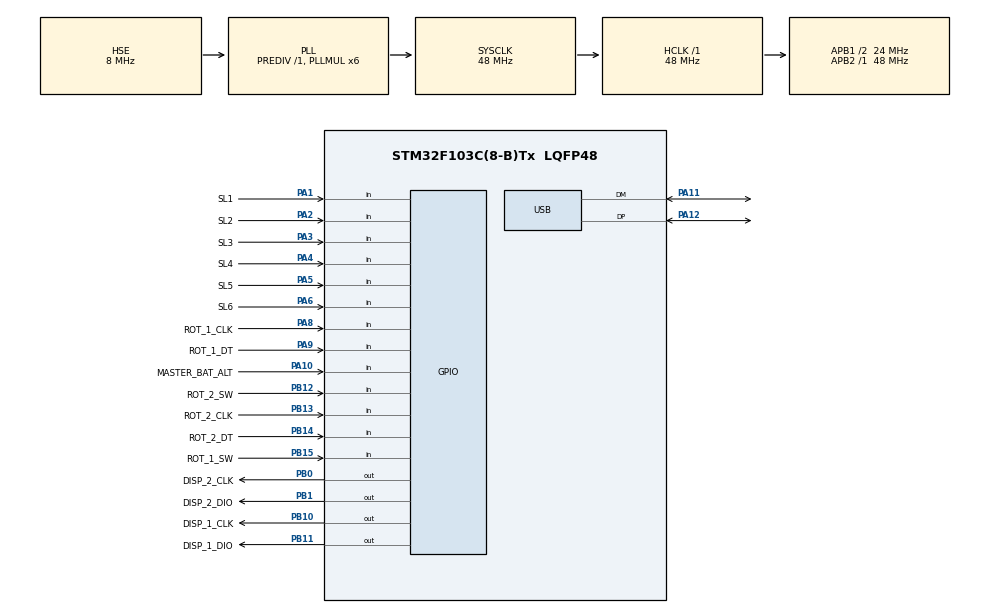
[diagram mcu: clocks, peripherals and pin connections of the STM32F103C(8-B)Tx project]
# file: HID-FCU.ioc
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Mcu.Family=STM32F1
Mcu.Name=STM32F103C(8-B)Tx
Mcu.Package=LQFP48
NVIC.PriorityGroup=NVIC_PRIORITYGROUP_4
NVIC.TIM4_IRQn=true\:15\:0\:false\:false\:true\:false\:true\:true
NVIC.TimeBase=TIM4_IRQn
NVIC.TimeBaseIP=TIM4
NVIC.USB_HP_CAN1_TX_IRQn=true\:0\:0\:false\:false\:true\:true\:true\:true
NVIC.USB_LP_CAN1_RX0_IRQn=true\:5\:0\:true\:false\:true\:false\:true\:true
PA1.GPIO_Label=SL1
PA1.Signal=GPIO_Input
PA10.GPIO_Label=MASTER_BAT_ALT
PA10.GPIO_PuPd=GPIO_PULLDOWN
PA10.Signal=GPIO_Input
PA11.Mode=Device
PA11.Signal=USB_DM
PA12.Mode=Device
PA12.Signal=USB_DP
PA13.Mode=Serial_Wire
PA13.Signal=SYS_JTMS-SWDIO
PA14.Mode=Serial_Wire
PA14.Signal=SYS_JTCK-SWCLK
PA2.GPIO_Label=SL2
PA2.Signal=GPIO_Input
PA3.GPIO_Label=SL3
PA3.Signal=GPIO_Input
PA4.GPIO_Label=SL4
PA4.Signal=GPIO_Input
PA5.GPIO_Label=SL5
PA5.Signal=GPIO_Input
PA6.GPIO_Label=SL6
PA6.Signal=GPIO_Input
PA8.GPIO_Label=ROT_1_CLK
PA8.Signal=GPIO_Input
PA9.GPIO_Label=ROT_1_DT
PA9.Signal=GPIO_Input
PB0.GPIO_Label=DISP_2_CLK
PB0.GPIO_ModeDefaultOutputPP=GPIO_MODE_OUTPUT_OD
PB0.GPIO_PuPd=GPIO_NOPULL
PB0.Signal=GPIO_Output
PB1.GPIO_Label=DISP_2_DIO
PB1.GPIO_ModeDefaultOutputPP=GPIO_MODE_OUTPUT_OD
PB1.GPIO_PuPd=GPIO_NOPULL
PB1.Signal=GPIO_Output
PB10.GPIO_Label=DISP_1_CLK
PB10.GPIO_ModeDefaultOutputPP=GPIO_MODE_OUTPUT_OD
PB10.GPIO_PuPd=GPIO_NOPULL
PB10.Signal=GPIO_Output
PB11.GPIO_Label=DISP_1_DIO
PB11.GPIO_ModeDefaultOutputPP=GPIO_MODE_OUTPUT_OD
PB11.GPIO_PuPd=GPIO_NOPULL
PB11.Signal=GPIO_Output
PB12.GPIO_Label=ROT_2_SW
PB12.Signal=GPIO_Input
PB13.GPIO_Label=ROT_2_CLK
PB13.Signal=GPIO_Input
PB14.GPIO_Label=ROT_2_DT
PB14.Signal=GPIO_Input
PB15.GPIO_Label=ROT_1_SW
PB15.Signal=GPIO_Input
PD0-OSC_IN.Mode=HSE-External-Oscillator
PD0-OSC_IN.Signal=RCC_OSC_IN
PD1-OSC_OUT.Mode=HSE-External-Oscillator
PD1-OSC_OUT.Signal=RCC_OSC_OUT
ProjectManager.HeapSize=0x200
ProjectManager.StackSize=0x400
ProjectManager.TargetToolchain=STM32CubeIDE
RCC.AHBFreq_Value=48000000
RCC.APB1CLKDivider=RCC_HCLK_DIV2
RCC.APB1Freq_Value=24000000
RCC.APB1TimFreq_Value=48000000
RCC.APB2Freq_Value=48000000
RCC.APB2TimFreq_Value=48000000
RCC.HCLKFreq_Value=48000000
RCC.PLLMUL=RCC_PLL_MUL6
RCC.SYSCLKFreq_VALUE=48000000
RCC.SYSCLKSource=RCC_SYSCLKSOURCE_PLLCLK
RCC.USBFreq_Value=48000000
USB_DEVICE.CLASS_NAME_FS=HID
USB_DEVICE.PRODUCT_STRING_HID_FS=HID-FCU
USB_DEVICE.VirtualMode=Hid
USB_DEVICE.VirtualModeFS=Hid_FS
VP_SYS_VS_tim4.Mode=TIM4
VP_USB_DEVICE_VS_USB_DEVICE_HID_FS.Mode=HID_FS
board=custom

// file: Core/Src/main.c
/* USER CODE BEGIN Header */
/**
  ******************************************************************************
  * @file           : main.c
  * @brief          : Main program body
  ******************************************************************************
  * @attention
  *
  * Copyright (c) 2023 STMicroelectronics.
  * All rights reserved.
  *
  * This software is licensed under terms that can be found in the LICENSE file
  * in the root directory of this software component.
  * If no LICENSE file comes with this software, it is provided AS-IS.
  *
  ******************************************************************************
  */
/* USER CODE END Header */
#include "main.h"
#include "usb_device.h"

/* USER CODE BEGIN Includes */
#include <stdbool.h>
#include <stdint.h>
#include "display.h"
#include "usbd_hid.h"
#include "usb_hid_keys.h"
/* USER CODE END Includes */

/* USER CODE BEGIN PTD */
typedef enum
{
  FCU_KEY_AP,
  FCU_KEY_HDG,
  FCU_KEY_UP,
  FCU_KEY_NAV,
  FCU_KEY_ALT,
  FCU_KEY_DOWN

} fcu_key;

typedef enum
{
  MODE_AP,       /* 0 = OFF, 1 = ON  */
  MODE_NAV,      /* 0 = OFF, 1 = ON  */
  MODE_LATERAL,  /* 0 = ROL, 1 = HDG */
  MODE_VERTICAL, /* 0 = VS,  1 = ALT */

} fcu_mode;
/* USER CODE END PTD */

/* USER CODE BEGIN PV */
static uint8_t  hid_report[8]      = { 0 };
static fcu_mode mode               = 0;
static int32_t  altitude           = 0;
static int32_t  heading_queue      = 0;
static uint32_t disp_state         = SEG_OFF;
static uint32_t prev_disp_state    = SEG_CLR;
static bool is_initialised         = false;
static GPIO_PinState prev_rot_1_dt = GPIO_PIN_RESET;
static GPIO_PinState prev_rot_2_dt = GPIO_PIN_RESET;
static GPIO_PinState master_bat_alt;

/* USER CODE END PV */

void SystemClock_Config(void);
static void MX_GPIO_Init(void);
/* USER CODE BEGIN PFP */
void bat_alt_avionics_bootup(void);
void handle_encoder(void);
void handle_key(GPIO_TypeDef *GPIOx, uint16_t GPIO_Pin, const fcu_key key);
void handle_switch(void);
/* USER CODE END PFP */

int main(void)
{

  /* MCU Configuration--------------------------------------------------------*/

  /* Reset of all peripherals, Initializes the Flash interface and the Systick. */
  HAL_Init();

  /* Configure the system clock */
  SystemClock_Config();

  /* Initialize all configured peripherals */
  MX_GPIO_Init();
  MX_USB_DEVICE_Init();
  /* USER CODE BEGIN 2 */
  master_bat_alt = HAL_GPIO_ReadPin(MASTER_BAT_ALT_GPIO_Port, MASTER_BAT_ALT_Pin);
  prev_rot_1_dt  = HAL_GPIO_ReadPin(ROT_1_DT_GPIO_Port, ROT_1_DT_Pin);
  prev_rot_2_dt  = HAL_GPIO_ReadPin(ROT_2_DT_GPIO_Port, ROT_2_DT_Pin);
  /* USER CODE END 2 */

  /* Infinite loop */
  /* USER CODE BEGIN WHILE */
  while (false == is_initialised)
  {
    if (master_bat_alt != HAL_GPIO_ReadPin(MASTER_BAT_ALT_GPIO_Port, MASTER_BAT_ALT_Pin))
    {
      bat_alt_avionics_bootup();
      is_initialised = true;
      master_bat_alt = HAL_GPIO_ReadPin(MASTER_BAT_ALT_GPIO_Port, MASTER_BAT_ALT_Pin);
      continue;
    }

    HAL_Delay(10);
  }

  while (1)
  {
    /* USER CODE END WHILE */

    /* USER CODE BEGIN 3 */
    handle_switch();
    handle_encoder();
    handle_key(SL1_GPIO_Port, SL1_Pin, FCU_KEY_AP);
    handle_key(SL2_GPIO_Port, SL2_Pin, FCU_KEY_HDG);
    handle_key(SL3_GPIO_Port, SL3_Pin, FCU_KEY_UP);
    handle_key(SL4_GPIO_Port, SL4_Pin, FCU_KEY_NAV);
    handle_key(SL5_GPIO_Port, SL5_Pin, FCU_KEY_ALT);
    handle_key(SL6_GPIO_Port, SL6_Pin, FCU_KEY_DOWN);
    HAL_Delay(10);
  }
  /* USER CODE END 3 */
}

void SystemClock_Config(void)
{
  RCC_OscInitTypeDef RCC_OscInitStruct = {0};
  RCC_ClkInitTypeDef RCC_ClkInitStruct = {0};
  RCC_PeriphCLKInitTypeDef PeriphClkInit = {0};

  /** Initializes the RCC Oscillators according to the specified parameters
  * in the RCC_OscInitTypeDef structure.
  */
  RCC_OscInitStruct.OscillatorType = RCC_OSCILLATORTYPE_HSE;
  RCC_OscInitStruct.HSEState = RCC_HSE_ON;
  RCC_OscInitStruct.HSEPredivValue = RCC_HSE_PREDIV_DIV1;
  RCC_OscInitStruct.HSIState = RCC_HSI_ON;
  RCC_OscInitStruct.PLL.PLLState = RCC_PLL_ON;
  RCC_OscInitStruct.PLL.PLLSource = RCC_PLLSOURCE_HSE;
  RCC_OscInitStruct.PLL.PLLMUL = RCC_PLL_MUL6;
  if (HAL_RCC_OscConfig(&RCC_OscInitStruct) != HAL_OK)
  {
    Error_Handler();
  }

  /** Initializes the CPU, AHB and APB buses clocks
  */
  RCC_ClkInitStruct.ClockType = RCC_CLOCKTYPE_HCLK|RCC_CLOCKTYPE_SYSCLK
                              |RCC_CLOCKTYPE_PCLK1|RCC_CLOCKTYPE_PCLK2;
  RCC_ClkInitStruct.SYSCLKSource = RCC_SYSCLKSOURCE_PLLCLK;
  RCC_ClkInitStruct.AHBCLKDivider = RCC_SYSCLK_DIV1;
  RCC_ClkInitStruct.APB1CLKDivider = RCC_HCLK_DIV2;
  RCC_ClkInitStruct.APB2CLKDivider = RCC_HCLK_DIV1;

  if (HAL_RCC_ClockConfig(&RCC_ClkInitStruct, FLASH_LATENCY_1) != HAL_OK)
  {
    Error_Handler();
  }
  PeriphClkInit.PeriphClockSelection = RCC_PERIPHCLK_USB;
  PeriphClkInit.UsbClockSelection = RCC_USBCLKSOURCE_PLL;
  if (HAL_RCCEx_PeriphCLKConfig(&PeriphClkInit) != HAL_OK)
  {
    Error_Handler();
  }
}

static void MX_GPIO_Init(void)
{
  GPIO_InitTypeDef GPIO_InitStruct = {0};

  /* GPIO Ports Clock Enable */
  __HAL_RCC_GPIOD_CLK_ENABLE();
  __HAL_RCC_GPIOA_CLK_ENABLE();
  __HAL_RCC_GPIOB_CLK_ENABLE();

  /*Configure GPIO pin Output Level */
  HAL_GPIO_WritePin(GPIOB, DISP_2_CLK_Pin|DISP_2_DIO_Pin|DISP_1_CLK_Pin|DISP_1_DIO_Pin, GPIO_PIN_RESET);

  /*Configure GPIO pins : SL1_Pin SL2_Pin SL3_Pin SL4_Pin
                           SL5_Pin SL6_Pin ROT_1_CLK_Pin ROT_1_DT_Pin */
  GPIO_InitStruct.Pin = SL1_Pin|SL2_Pin|SL3_Pin|SL4_Pin
                          |SL5_Pin|SL6_Pin|ROT_1_CLK_Pin|ROT_1_DT_Pin;
  GPIO_InitStruct.Mode = GPIO_MODE_INPUT;
  GPIO_InitStruct.Pull = GPIO_NOPULL;
  HAL_GPIO_Init(GPIOA, &GPIO_InitStruct);

  /*Configure GPIO pins : DISP_2_CLK_Pin DISP_2_DIO_Pin DISP_1_CLK_Pin DISP_1_DIO_Pin */
  GPIO_InitStruct.Pin = DISP_2_CLK_Pin|DISP_2_DIO_Pin|DISP_1_CLK_Pin|DISP_1_DIO_Pin;
  GPIO_InitStruct.Mode = GPIO_MODE_OUTPUT_OD;
  GPIO_InitStruct.Pull = GPIO_NOPULL;
  GPIO_InitStruct.Speed = GPIO_SPEED_FREQ_LOW;
  HAL_GPIO_Init(GPIOB, &GPIO_InitStruct);

  /*Configure GPIO pins : ROT_2_SW_Pin ROT_2_CLK_Pin ROT_2_DT_Pin ROT_1_SW_Pin */
  GPIO_InitStruct.Pin = ROT_2_SW_Pin|ROT_2_CLK_Pin|ROT_2_DT_Pin|ROT_1_SW_Pin;
  GPIO_InitStruct.Mode = GPIO_MODE_INPUT;
  GPIO_InitStruct.Pull = GPIO_NOPULL;
  HAL_GPIO_Init(GPIOB, &GPIO_InitStruct);

  /*Configure GPIO pin : MASTER_BAT_ALT_Pin */
  GPIO_InitStruct.Pin = MASTER_BAT_ALT_Pin;
  GPIO_InitStruct.Mode = GPIO_MODE_INPUT;
  GPIO_InitStruct.Pull = GPIO_PULLDOWN;
  HAL_GPIO_Init(MASTER_BAT_ALT_GPIO_Port, &GPIO_InitStruct);

}

/* USER CODE BEGIN 4 */
void bat_alt_avionics_bootup(void)
{
  extern USBD_HandleTypeDef hUsbDeviceFS;

  hid_report[0] = KEY_MOD_LALT;
  hid_report[2] = KEY_B;
  hid_report[3] = KEY_A;

  USBD_HID_SendReport(&hUsbDeviceFS, hid_report, 8);
  HAL_Delay(40);

  /* Release keys. */
  for (int i = 0; i < 8; i += 1)
  {
    hid_report[i] = KEY_NONE;
  }
  USBD_HID_SendReport(&hUsbDeviceFS, hid_report, 8);

  for (int c = 1; c <= 4; c+= 1)
  {
    set_display(SEG_PFT, c);
    HAL_Delay(2000);
  }
  HAL_Delay(2000);

  fill_display();
  HAL_Delay(4000);
  set_display(SEG_OFF, 0);
}

void handle_encoder(void)
{
  extern USBD_HandleTypeDef hUsbDeviceFS;
  GPIO_PinState rot_1_dt = HAL_GPIO_ReadPin(ROT_1_DT_GPIO_Port, ROT_1_DT_Pin);
  GPIO_PinState rot_2_dt = HAL_GPIO_ReadPin(ROT_2_DT_GPIO_Port, ROT_2_DT_Pin);

  int32_t heading_step = 1;

  /* Rotary Encoder 1 - ALTITUDE */
  if ((GPIO_PIN_SET == prev_rot_1_dt) && (GPIO_PIN_RESET == rot_1_dt))
  {
    if (GPIO_PIN_SET == HAL_GPIO_ReadPin(ROT_1_CLK_GPIO_Port, ROT_1_CLK_Pin))
    {
      if (GPIO_PIN_RESET == HAL_GPIO_ReadPin(ROT_1_SW_GPIO_Port, ROT_1_SW_Pin))
      {
        hid_report[2] = KEY_NONE;
      }
      else
      {
        hid_report[2] = KEY_MINUS;
      }
      altitude -= 100;
    }
    else
    {
      if (GPIO_PIN_RESET == HAL_GPIO_ReadPin(ROT_1_SW_GPIO_Port, ROT_1_SW_Pin))
      {
        hid_report[2] = KEY_NONE;
      }
      else
      {
        hid_report[2] = KEY_EQUAL;
      }
      altitude += 100;
    }

    USBD_HID_SendReport(&hUsbDeviceFS, hid_report, 8);
    HAL_Delay(40);

    /* Release keys. */
    for (int i = 0; i < 8; i += 1)
    {
      hid_report[i] = KEY_NONE;
    }
    USBD_HID_SendReport(&hUsbDeviceFS, hid_report, 8);

    set_display(disp_state, altitude);
  }

  /* Rotary Encoder 2 - HEADING */
  if (GPIO_PIN_RESET == HAL_GPIO_ReadPin(ROT_2_SW_GPIO_Port, ROT_2_SW_Pin))
  {
    heading_step = 20;
  }

  if ((GPIO_PIN_SET == prev_rot_2_dt) && (GPIO_PIN_RESET == rot_2_dt))
  {
    if (GPIO_PIN_SET == HAL_GPIO_ReadPin(ROT_2_CLK_GPIO_Port, ROT_2_CLK_Pin))
    {
      heading_queue -= heading_step;
    }
    else
    {
      heading_queue += heading_step;
    }
  }

  if (0 != heading_queue)
  {
    if (heading_queue < 0)
    {
      hid_report[2] = KEY_LEFTBRACE;
      heading_queue += 1;
    }
    else if (heading_queue > 0)
    {
      hid_report[2] = KEY_RIGHTBRACE;
      heading_queue -= 1;
    }

    USBD_HID_SendReport(&hUsbDeviceFS, hid_report, 8);
    HAL_Delay(40);

    /* Release keys. */
    for (int i = 0; i < 8; i += 1)
    {
      hid_report[i] = KEY_NONE;
    }
    USBD_HID_SendReport(&hUsbDeviceFS, hid_report, 8);
  }

  prev_rot_1_dt = rot_1_dt;
  prev_rot_2_dt = rot_2_dt;
}

void handle_key(GPIO_TypeDef *GPIOx, uint16_t GPIO_Pin, const fcu_key key)
{
  extern USBD_HandleTypeDef hUsbDeviceFS;
  static fcu_key key_lock = 0;

  if (GPIO_PIN_RESET == HAL_GPIO_ReadPin(GPIOx, GPIO_Pin))
  {
    if (0 == ((key_lock >> key) & 1U))
    {
      switch (key)
      {
        case FCU_KEY_AP:
          hid_report[2] = KEY_TAB;

          mode ^= 1UL << MODE_AP;

          if (0 == ((mode >> MODE_AP) & 1U))
          {
            disp_state = SEG_OFF;
          }
          else if (1 == ((mode >> MODE_NAV) & 1U))
          {
            disp_state = SEG_NAV;
          }
          else if (1 == ((mode >> MODE_LATERAL) & 1U))
          {
            disp_state = SEG_HDG;
          }
          else
          {
            disp_state = SEG_ROL;
          }
          break;
        case FCU_KEY_HDG:
          hid_report[0] = KEY_MOD_LSHIFT;
          hid_report[2] = KEY_Z;

          mode ^= 1UL << MODE_LATERAL;
          mode |= 1UL << MODE_AP; /* Pilatus PC-6 (Milviz) */

          if (0 == ((mode >> MODE_AP) & 1U))
          {
            disp_state = SEG_OFF;
          }
          else if (1 == ((mode >> MODE_NAV) & 1U))
          {
            disp_state = SEG_NAV;
          }
          else if (1 == ((mode >> MODE_LATERAL) & 1U))
          {
            disp_state = SEG_HDG;
          }
          else
          {
            disp_state = SEG_ROL;
          }
          break;
        case FCU_KEY_UP:
          hid_report[0] = KEY_MOD_LALT;
          hid_report[2] = KEY_I;
          break;
        case FCU_KEY_NAV:
          hid_report[0] = KEY_MOD_LCTRL;
          hid_report[2] = KEY_Z;

          mode ^= 1UL << MODE_NAV;

          if (0 == ((mode >> MODE_AP) & 1U))
          {
            disp_state = SEG_OFF;
          }
          else if (1 == ((mode >> MODE_NAV) & 1U))
          {
            disp_state = SEG_NAV;
          }
          else if (1 == ((mode >> MODE_LATERAL) & 1U))
          {
            disp_state = SEG_HDG;
          }
          else
          {
            disp_state = SEG_ROL;
          }
          break;
        case FCU_KEY_ALT:
          hid_report[0] = KEY_MOD_LSHIFT;
          hid_report[2] = KEY_X;

          mode ^= 1UL << MODE_VERTICAL;
          mode |= 1UL << MODE_AP; /* Pilatus PC-6 (Milviz) */

          if (1 == ((mode >> MODE_AP) & 1U))
          {
            if (1 == ((mode >> MODE_VERTICAL) & 1U))
            {
              disp_state = SEG_ALT;
            }
            else
            {
              disp_state = SEG_VS;
            }
          }
          else
          {
            disp_state = SEG_OFF;
          }
          break;
        case FCU_KEY_DOWN:
          hid_report[0] = KEY_MOD_LALT;
          hid_report[2] = KEY_K;
          break;
      }

      if (GPIO_PIN_SET == HAL_GPIO_ReadPin(ROT_1_SW_GPIO_Port, ROT_1_SW_Pin))
      {
        USBD_HID_SendReport(&hUsbDeviceFS, hid_report, 8);
        HAL_Delay(40);

        /* Release keys. */
        for (int i = 0; i < 8; i += 1)
        {
          hid_report[i] = KEY_NONE;
        }
        USBD_HID_SendReport(&hUsbDeviceFS, hid_report, 8);
      }
    }

    key_lock |= 1UL << key;
  }
  else
  {
    key_lock &= ~(1UL << key);
  }

  if ((disp_state != prev_disp_state) && (true == is_initialised))
  {
    set_display(disp_state, altitude);
    prev_disp_state = disp_state;
  }
}

void handle_switch(void)
{
  extern USBD_HandleTypeDef hUsbDeviceFS;

  if (master_bat_alt != HAL_GPIO_ReadPin(MASTER_BAT_ALT_GPIO_Port, MASTER_BAT_ALT_Pin))
  {
    hid_report[0] = KEY_MOD_LALT;
    hid_report[2] = KEY_ENTER;

    USBD_HID_SendReport(&hUsbDeviceFS, hid_report, 8);
    HAL_Delay(40);

    /* Release keys. */
    for (int i = 0; i < 8; i += 1)
    {
      hid_report[i] = KEY_NONE;
    }
    USBD_HID_SendReport(&hUsbDeviceFS, hid_report, 8);

    master_bat_alt = HAL_GPIO_ReadPin(MASTER_BAT_ALT_GPIO_Port, MASTER_BAT_ALT_Pin);
  }
}
/* USER CODE END 4 */

void HAL_TIM_PeriodElapsedCallback(TIM_HandleTypeDef *htim)
{
  if (htim->Instance == TIM4) {
    HAL_IncTick();
  }
}

void Error_Handler(void)
{
  __disable_irq();
  while (1)
  {
  }
}
